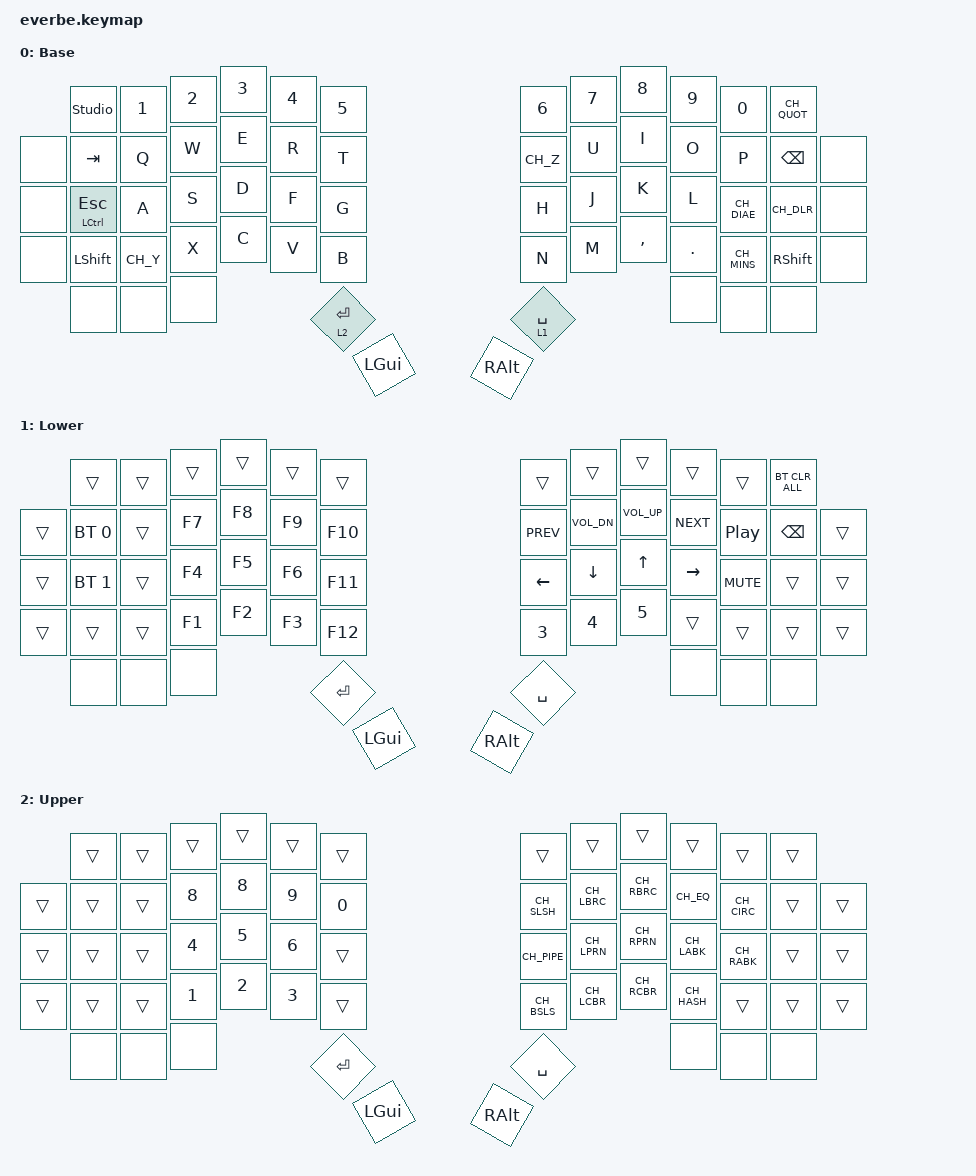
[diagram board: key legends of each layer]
#include "keys_ch.h"
#include <behaviors.dtsi>
#include <dt-bindings/zmk/bt.h>
#include <dt-bindings/zmk/keys.h>

// Defines what key goes where
// &kp = keypress
// &mo = momentary layer, means it activates a specific layer when we hold down this key
//    &mo 1 = selects into the next layer
// &bt = selects a different bluetooth device
/ {
    combos {
        compatible = "zmk,combos";
        l_combo_lalt{
            timeout-ms = <50>;
            key-positions = <15 29>;
            bindings = <&kp LALT>;
        };
        l_combo_lgui {
            timeout-ms = <50>;
            key-positions = <16 30>;
            bindings = <&kp LGUI>;
        };
        l_combo_lctrl {
            timeout-ms = <50>;
            key-positions = <17 31>;
            bindings = <&kp LCTRL>;
        };

        r_combo_rctrl {
            timeout-ms = <50>;
            key-positions = <20 34>;
            bindings = <&kp RCTRL>;
        };
        r_combo_rgui{
            timeout-ms = <50>;
            key-positions = <21 35>;
            bindings = <&kp RGUI>;
        };
        r_combo_ralt {
            timeout-ms = <50>;
            key-positions = <22 36>;
            bindings = <&kp RALT>;
        };
    };
};
/ {
      behaviors {
          hm: mod_taps {
              compatible = "zmk,behavior-hold-tap";
              #binding-cells = <2>;
              tapping-term-ms = <150>;
              quick-tap-ms = <0>;
              flavor = "tap-preferred";
              bindings = <&kp>, <&kp>;               
          };
          fm: mod_taps2 { // fast homerow mods
              compatible = "zmk,behavior-hold-tap";
              #binding-cells = <2>;
              tapping-term-ms = <125>;
              quick-tap-ms = <0>;
              flavor = "tap-preferred";
              bindings = <&kp>, <&kp>;               
          };
          mk: mom_key {
              compatible = "zmk,behavior-hold-tap";
              #binding-cells = <2>;
              tapping-term-ms = <175>;
              quick-tap-ms = <0>;
              flavor = "balanced";
              bindings = <&mo>, <&kp>;               
          };
      };                                               

      keymap {
        compatible = "zmk,keymap";

        default_layer {
            display-name = "Base";
            bindings = <
       &studio_unlock   &kp N1   &kp N2      &kp N3      &kp N4      &kp N5        &kp N6      &kp N7      &kp N8      &kp N9       &kp N0      &kp CH_QUOT
&none  &kp TAB          &kp Q    &kp W       &kp E       &kp R       &kp T         &kp CH_Z    &kp U       &kp I       &kp O        &kp P       &kp BSPC    &none
&none  &hm LCTRL ESC    &kp A    &kp S       &kp D       &kp F       &kp G         &kp H       &kp J       &kp K       &kp L        &kp CH_DIAE &kp CH_DLR  &none
&none  &kp LSHIFT       &kp CH_Y &kp X       &kp C       &kp V       &kp B         &kp N       &kp M       &kp COMMA   &kp DOT      &kp CH_MINS &kp RSHIFT  &none
       &none            &none    &none                   &mk 2 ENTER &kp LGUI      &kp RALT    &mk 1 SPACE             &none        &none       &none
            >;
        };
        lower_layer {
            display-name = "Lower";
            bindings = <
       &trans       &trans &trans      &trans      &trans       &trans             &trans     &trans          &trans       &trans      &trans     &bt BT_CLR_ALL
&trans &bt BT_SEL 0 &trans &kp F7      &kp F8      &kp F9       &kp F10            &kp C_PREV &kp C_VOL_DN    &kp C_VOL_UP &kp C_NEXT  &kp C_PP   &kp BSPC  &trans
&trans &bt BT_SEL 1 &trans &kp F4      &kp F5      &kp F6       &kp F11            &kp LEFT   &kp DOWN        &kp UP       &kp RIGHT   &kp C_MUTE &trans    &trans
&trans &trans       &trans &kp F1      &kp F2      &kp F3       &kp F12            &kp N3     &kp N4          &kp N5       &trans      &trans     &trans    &trans
       &none        &none  &none                   &kp ENTER    &kp LGUI           &kp RALT   &kp SPACE                    &none       &none      &none
            >;
        };
        upper_layer {
            display-name = "Upper";
            bindings = <
        &trans &trans &trans  &trans      &trans &trans                           &trans      &trans        &trans        &trans       &trans      &trans
&trans  &trans &trans &kp N8  &kp N8      &kp N9 &kp N0                           &kp CH_SLSH &kp CH_LBRC   &kp CH_RBRC   &kp CH_EQ    &kp CH_CIRC &trans &trans
&trans  &trans &trans &kp N4  &kp N5      &kp N6 &trans                           &kp CH_PIPE &kp CH_LPRN   &kp CH_RPRN   &kp CH_LABK  &kp CH_RABK &trans &trans
&trans  &trans &trans &kp N1  &kp N2      &kp N3 &trans                           &kp CH_BSLS &kp CH_LCBR   &kp CH_RCBR   &kp CH_HASH  &trans      &trans &trans 
        &none  &none  &none               &kp ENTER &kp LGUI                      &kp RALT    &kp SPACE                   &none        &none       &none
            >;
        };
        extra1 {
            status = "reserved";
        };
        extra2 {
            status = "reserved";
        };
    };
};

